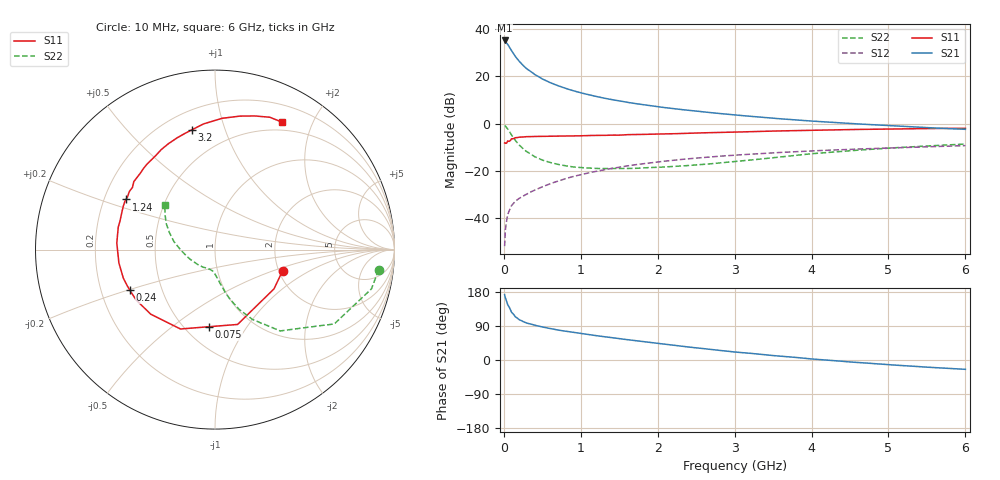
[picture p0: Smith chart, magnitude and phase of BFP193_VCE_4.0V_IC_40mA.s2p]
! Infineon Technologies  Discrete & RF Semiconductors
! BFP193
! VCE = 4.0 V,  IC =  40 mA
! Common Emitter S-Parameters:  Jan 2016
# GHz  S  MA  R  50
!  f  S11  S21  S12  S22
! GHz  MAG  ANG  MAG  ANG  MAG  ANG  MAG  ANG
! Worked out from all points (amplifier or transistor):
!   210 points, 10 MHz to 6 GHz, reference 50 ohm
!   highest |S21| = 35.2 dB at 10 MHz (marker M1)
!   |S21| within 3 dB of that: start of sweep to 75.14 MHz
!   unconditionally stable (mu >= 1): 588.2 MHz to 3.844 GHz
!   at 185 MHz: K = 0.64, MSG = 29.4 dB, |S12| = -31.9 dB
!   at 1.52 GHz: K = 1.07, MAG = 12.3 dB, |S12| = -18.2 dB
!   at 6 GHz: K = 0.94, MSG = 3.4 dB, |S12| = -9.2 dB
!   S11 on the Smith chart (normalised r, x): 10 MHz: 2.10, -0.58; 75 MHz: 0.65, -0.69; 240 MHz: 0.33, -0.20; 1.24 GHz: 0.29, +0.24; 3.2 GHz: 0.31, +0.78; 6 GHz: 0.40, +1.58
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0.01  0.3946 -17.3  57.56 172.4  0.0026 84.8  0.9181 -7.1
0.02  0.3949 -33.6  55.12 164.1  0.0057 75.6  0.8987 -14.1
0.05  0.4356 -73.2  47.73 145.9  0.0119 68.0  0.7831 -31.9
0.075  0.4309 -94.4  40.78 137.4  0.0153 62.6  0.6724 -40.1
0.1  0.4823 -113.5  35.06 125.9  0.0187 59.1  0.5807 -51.3
0.15  0.5076 -134.8  26.29 113.9  0.0231 54.2  0.4425 -61.7
0.2  0.5215 -147.6  20.86 106.4  0.0266 55.4  0.3569 -68.2
0.24  0.5256 -154.5  17.78 102.4  0.0291 55.4  0.3071 -71.6
0.3  0.5349 -162.7  14.42 97.3  0.0329 57.6  0.2565 -75.7
0.4  0.5406 -172.1  11.03 91.7  0.0397 59.9  0.2024 -80.2
0.5  0.542 -178.4  8.857 87.0  0.0464 61.6  0.171 -83.4
0.6  0.5483 176.2  7.423 82.9  0.0541 62.5  0.1524 -86.5
0.7  0.5488 171.1  6.399 79.1  0.0612 63.0  0.1391 -89.3
1.02  0.5595 157.9  4.429 69.4  0.0856 62.0  0.1183 -97.7
1.24  0.5692 150.6  3.661 63.2  0.1022 60.4  0.1136 -104.4
1.6  0.5898 140.1  2.845 53.7  0.1285 56.7  0.1143 -115.8
2.02  0.6091 128.0  2.271 43.5  0.1576 51.6  0.1206 -130.5
3.1  0.6738 102.7  1.488 19.5  0.2225 37.9  0.1648 -168.6
3.2  0.68 100.8  1.441 17.7  0.2276 36.6  0.1709 -171.7
4.1  0.7363 85.4  1.115 1.3  0.2718 26.0  0.24 166.9
5.1  0.7806 72.2  0.898 -13.7  0.3117 14.9  0.3128 150.6
6  0.802 62.4  0.764 -24.6  0.3456 5.3  0.3732 138.6
